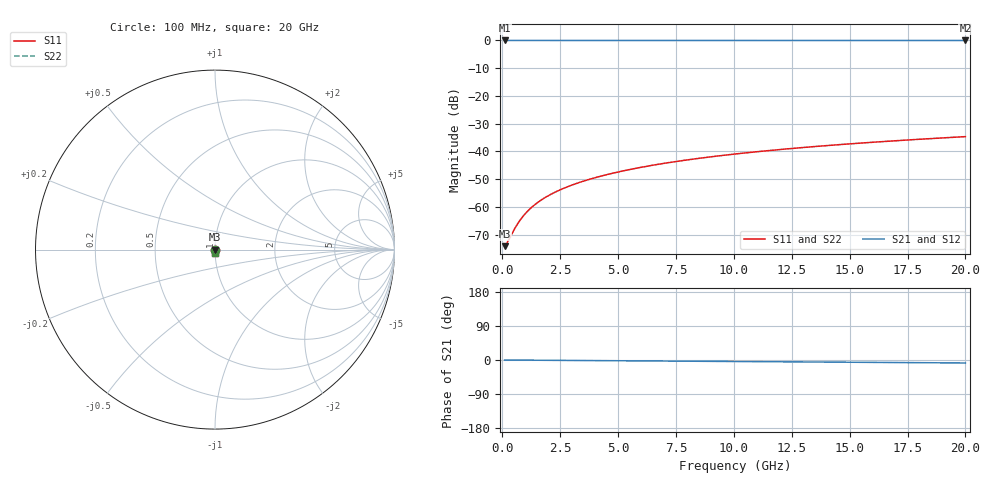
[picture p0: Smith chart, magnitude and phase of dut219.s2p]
! Touchstone file exported from HFSS 2026.1.0
!  File:  C:/ffzhzh/LocalFiles/Ansys_Project_Files/temp_train_TSV_219_1782992155_41620.aedt
!  Generated:  07:37:18 PM Jul  2, 2026
!  Design:  TSV
!  Project:  temp_train_TSV_219_1782992155_41620
! Variables:
!  h_bsmrdl = 2um
!  h_ox = 20um
!  h_rdl = 5um
!  h_sub = 82.1um
!  h_tmrdl = 5um
!  h_tsv = 82.1um
!  h_via = 3um
!  l_bsmrdl = 300um
!  l_sub = 415.9um
!  l_tmrdl = 200um
!  m_sub = 200um
!  pitch = 28.27um
!  r_tsv = 7.95um
!  s_tmrdl = 10um
!  w_bsmrdl = 18um
!  w_sub = 500um
!  w_tmrdl = 12um
!  x_tsv_center1 = 206um
!  x_tsv_center2 = 524um
!  x_tsv_center3 = 736um
!  x_tsv_center4 = 1054um
!  x_tsv_center5 = 1266um
!  x_tsv_center6 = 1584um
# GHz S MA R 50.000000
! Terminal data exported
! Port[1] = TSV1_1_T1
! Port[2] = TSV1_1_T2
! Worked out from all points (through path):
!   200 points, 100 MHz to 20 GHz, reference 50 ohm
!   highest |S21| = 0.00 dB at 100 MHz (marker M1); lowest = 0.0 dB at 20 GHz (marker M2)
!   group delay of S21, straight-line fit = 1.09 ps
!   lowest |S11| = -74.1 dB at 100 MHz (marker M3), VSWR 1.00, Z = 50 - j0.00392 ohm
!   |S11| at or under -10 dB: start of sweep to end of sweep
!   |S22| runs from -74.1 to -34.7 dB; largest |S21 - S12| = 3.7e-15
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0.1  0.0001968 -11.5  0.9998 -0.0  0.9998 -0.0  0.0001968 -11.5
! Gamma 0 0 0 0
! Port Impedance 50 0 50 0
0.2  0.0002238 -21.6  0.9998 -0.1  0.9998 -0.1  0.0002238 -21.6
0.5  0.0003823 -41.5  0.9997 -0.2  0.9997 -0.2  0.0003823 -41.5
0.6  0.0004517 -45.9  0.9997 -0.2  0.9997 -0.2  0.0004517 -45.9
0.8  0.0006033 -52.8  0.9996 -0.3  0.9996 -0.3  0.0006033 -52.8
0.9  0.000683 -55.6  0.9996 -0.4  0.9996 -0.4  0.000683 -55.6
1.1  0.0008467 -60.0  0.9996 -0.4  0.9996 -0.4  0.0008467 -60.0
1.4  0.001098 -64.9  0.9995 -0.6  0.9995 -0.6  0.001098 -64.9
1.8  0.001437 -69.3  0.9995 -0.7  0.9995 -0.7  0.001437 -69.3
2.3  0.001866 -72.9  0.9994 -0.9  0.9994 -0.9  0.001866 -72.9
2.9  0.002388 -75.7  0.9994 -1.2  0.9994 -1.2  0.002388 -75.7
3.5  0.002917 -77.6  0.9993 -1.4  0.9993 -1.4  0.002917 -77.6
4.2  0.003543 -79.3  0.9992 -1.7  0.9992 -1.7  0.003543 -79.3
5  0.00427 -80.7  0.9992 -2.0  0.9992 -2.0  0.00427 -80.7
5.9  0.005099 -82.1  0.9991 -2.3  0.9991 -2.3  0.005099 -82.1
6.8  0.005937 -83.2  0.999 -2.7  0.999 -2.7  0.005937 -83.2
8.3  0.007345 -84.8  0.9989 -3.3  0.9989 -3.3  0.007345 -84.8
10.1  0.009046 -86.4  0.9988 -4.0  0.9988 -4.0  0.009046 -86.4
11.7  0.01056 -87.6  0.9987 -4.6  0.9987 -4.6  0.01056 -87.6
13.4  0.01218 -88.8  0.9986 -5.3  0.9986 -5.3  0.01218 -88.8
16.7  0.01534 -90.8  0.9984 -6.6  0.9984 -6.6  0.01534 -90.8
20  0.01851 -92.6  0.9981 -7.8  0.9981 -7.8  0.01851 -92.6
